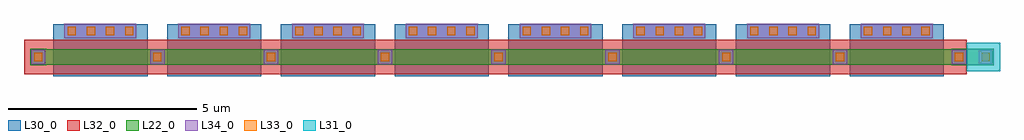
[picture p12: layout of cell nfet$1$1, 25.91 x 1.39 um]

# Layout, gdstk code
import gdstk
lib = gdstk.Library(unit=1e-6, precision=5e-09)
def R(c, l, rs):  # rectangles x0, y0, x1, y1
    for r in rs: c.add(gdstk.rectangle(r[:2], r[2:], *l))
def A(c, l, x, y, w, h, nx, ny, dx, dy):  # array of equal rectangles
    R(c, l, [(x+i*dx, y+j*dy, x+i*dx+w, y+j*dy+h) for i in range(nx) for j in range(ny)])
L22_0 = (22, 0)
L30_0 = (30, 0)
L31_0 = (31, 0)
L32_0 = (32, 0)
L33_0 = (33, 0)
L34_0 = (34, 0)

nfet_1_1 = lib.new_cell('nfet$1$1')
R(nfet_1_1, L22_0, [(-0.42,-0.01,0,0.43), (24.02,-0.01,24.44,0.43), (24.44,-0.01,25.15,0.43), (0,0,24.02,0.42)])
A(nfet_1_1, L30_0, 0.19, -0.3, 2.5, 1.02, 8, 1, 3.02, 0)
A(nfet_1_1, L30_0, 0.19, 0.72, 2.5, 0.36, 8, 1, 3.02, 0)
R(nfet_1_1, L31_0, [(24.44,-0.17,25.32,0.59)])
R(nfet_1_1, L32_0, [(-0.59,-0.25,24.44,0.67)])
A(nfet_1_1, L33_0, 2.84, 0.1, 0.22, 0.22, 7, 1, 3.02, 0)
A(nfet_1_1, L33_0, 0.565, 0.79, 0.22, 0.22, 4, 1, 0.51, 0)
A(nfet_1_1, L33_0, 3.585, 0.79, 0.22, 0.22, 4, 1, 0.51, 0)
A(nfet_1_1, L33_0, 6.605, 0.79, 0.22, 0.22, 4, 1, 0.51, 0)
A(nfet_1_1, L33_0, 9.625, 0.79, 0.22, 0.22, 4, 1, 0.51, 0)
A(nfet_1_1, L33_0, 12.645, 0.79, 0.22, 0.22, 4, 1, 0.51, 0)
A(nfet_1_1, L33_0, 15.665, 0.79, 0.22, 0.22, 4, 1, 0.51, 0)
A(nfet_1_1, L33_0, 18.685, 0.79, 0.22, 0.22, 4, 1, 0.51, 0)
A(nfet_1_1, L33_0, 21.705, 0.79, 0.22, 0.22, 4, 1, 0.51, 0)
R(nfet_1_1, L33_0, [(-0.32,0.1,-0.1,0.32), (24.12,0.1,24.34,0.32), (24.83,0.1,25.05,0.32)])
A(nfet_1_1, L34_0, 2.76, 0.02, 0.38, 0.38, 7, 1, 3.02, 0)
A(nfet_1_1, L34_0, 0.485, 0.71, 1.91, 0.38, 8, 1, 3.02, 0)
R(nfet_1_1, L34_0, [(-0.4,0.02,-0.02,0.4), (24.04,0.02,24.42,0.4), (24.75,0.02,25.13,0.4)])

lib.write_gds('nfet_1_1.gds')
